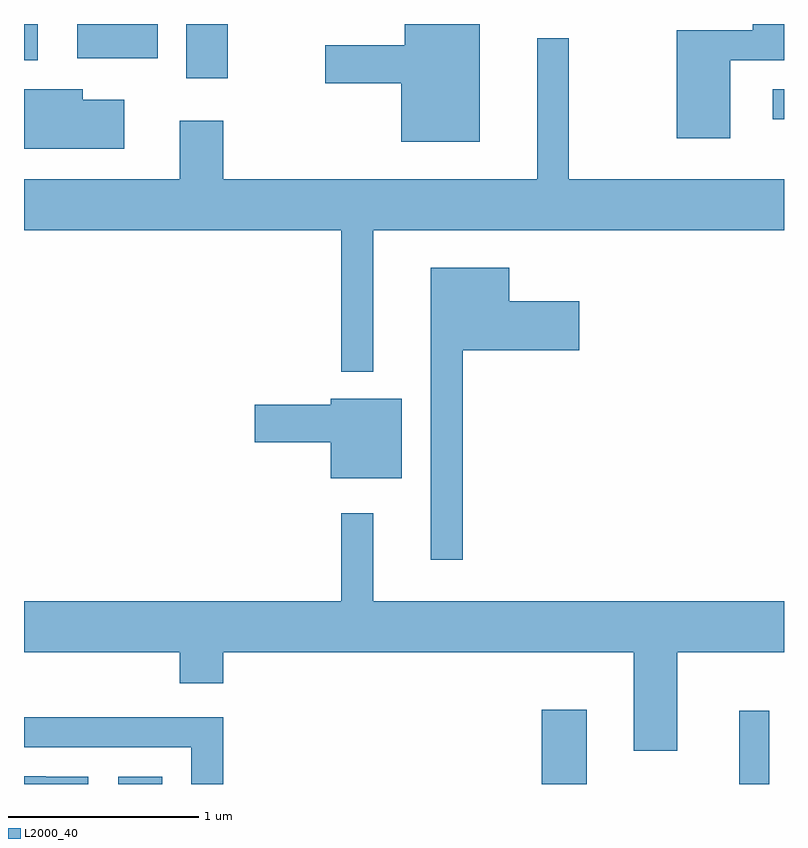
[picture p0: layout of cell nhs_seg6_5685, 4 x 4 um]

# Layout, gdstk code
import gdstk
lib = gdstk.Library(unit=1e-6, precision=1e-09)
def R(c, l, rs):  # rectangles x0, y0, x1, y1
    for r in rs: c.add(gdstk.rectangle(r[:2], r[2:], *l))
def P(c, l, *ps):  # polygons
    for p in ps: c.add(gdstk.Polygon(p, *l))
L2000_40 = (2000, 40)

nhs_seg6_5685 = lib.new_cell('nhs_seg6_5685')
R(nhs_seg6_5685, L2000_40, [(358.106,1618.162,358.339,1618.199), (360.336,1618.162,360.574,1618.554), (361.376,1618.162,361.534,1618.548), (361.553,1621.661,361.611,1621.819), (358.466,1621.876,358.684,1622.162), (357.611,1621.971,357.684,1622.162), (357.891,1621.981,358.314,1622.162)])
P(nhs_seg6_5685, L2000_40, [(361.329,1621.971),(361.611,1621.971),(361.611,1622.162),(361.446,1622.162),(361.446,1622.129),(361.046,1622.129),(361.046,1621.561),(361.329,1621.561)],
  [(360.009,1622.162),(359.616,1622.162),(359.616,1622.049),(359.196,1622.049),(359.196,1621.851),(359.596,1621.851),(359.596,1621.541),(360.009,1621.541)],
  [(359.449,1621.076),(361.611,1621.076),(361.611,1621.344),(360.479,1621.344),(360.479,1622.088),(360.311,1622.088),(360.311,1621.344),(358.659,1621.344),(358.659,1621.654),(358.431,1621.654),(358.431,1621.344),(357.611,1621.344),(357.611,1621.076),(359.281,1621.076),(359.281,1620.333),(359.449,1620.333)],
  [(358.139,1621.764),(357.919,1621.764),(357.919,1621.819),(357.611,1621.819),(357.611,1621.506),(358.139,1621.506)],
  [(359.919,1620.446),(360.534,1620.446),(360.534,1620.704),(360.164,1620.704),(360.164,1620.879),(359.751,1620.879),(359.751,1619.343),(359.919,1619.343)],
  [(359.599,1620.189),(359.226,1620.189),(359.226,1620.159),(358.826,1620.159),(358.826,1619.961),(359.226,1619.961),(359.226,1619.771),(359.599,1619.771)],
  [(361.049,1618.856),(361.611,1618.856),(361.611,1619.124),(359.449,1619.124),(359.449,1619.588),(359.281,1619.588),(359.281,1619.124),(357.611,1619.124),(357.611,1618.856),(358.431,1618.856),(358.431,1618.691),(358.659,1618.691),(358.659,1618.856),(360.821,1618.856),(360.821,1618.336),(361.049,1618.336)],
  [(358.659,1618.514),(357.611,1618.514),(357.611,1618.356),(358.491,1618.356),(358.491,1618.162),(358.659,1618.162)],
  [(357.949,1618.199),(357.725,1618.199),(357.725,1618.204),(357.611,1618.204),(357.611,1618.162),(357.949,1618.162)])

lib.write_gds('nhs_seg6_5685.gds')
